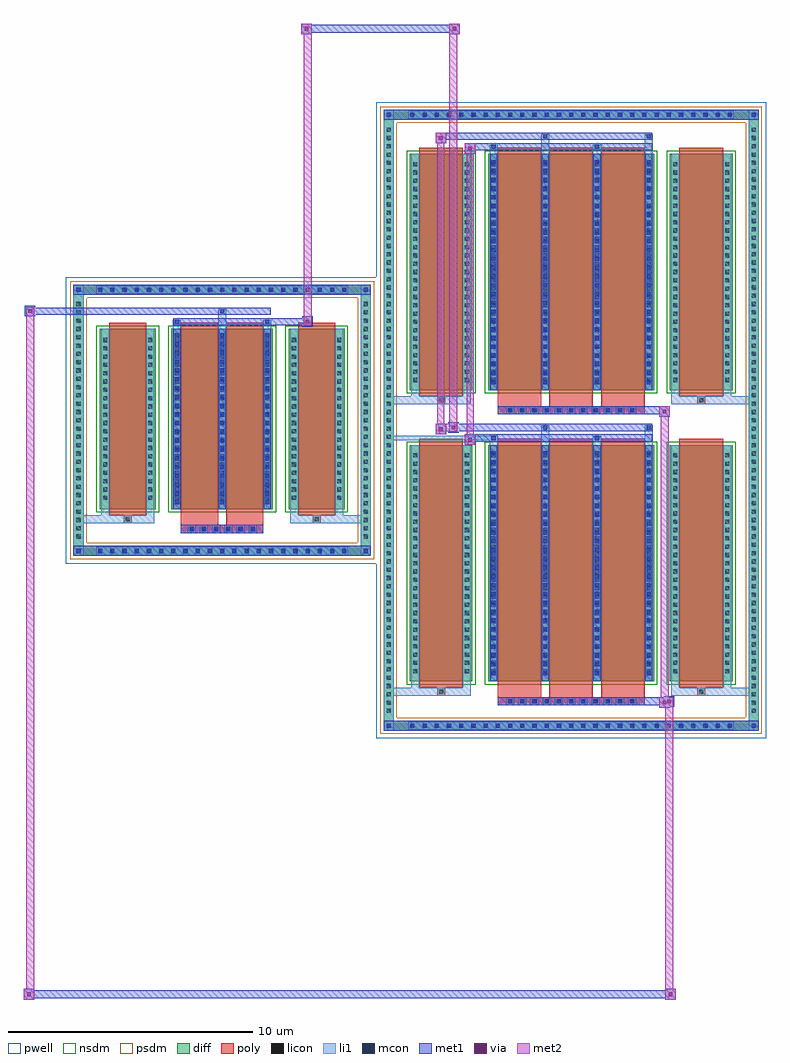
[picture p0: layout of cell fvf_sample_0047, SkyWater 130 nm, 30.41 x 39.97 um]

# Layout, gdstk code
import gdstk
lib = gdstk.Library(unit=1e-6, precision=1e-09)
def R(c, l, rs):  # rectangles x0, y0, x1, y1
    for r in rs: c.add(gdstk.rectangle(r[:2], r[2:], *l))
def A(c, l, x, y, w, h, nx, ny, dx, dy):  # array of equal rectangles
    R(c, l, [(x+i*dx, y+j*dy, x+i*dx+w, y+j*dy+h) for i in range(nx) for j in range(ny)])
def P(c, l, *ps):  # polygons
    for p in ps: c.add(gdstk.Polygon(p, *l))
pwell = (64, 44)
diff = (65, 20)
poly = (66, 20)
licon = (66, 44)
li1 = (67, 20)
mcon = (67, 44)
met1 = (68, 20)
via = (68, 44)
met2 = (69, 20)
nsdm = (93, 44)
psdm = (94, 20)

fvf_sample_0047 = lib.new_cell('fvf_sample_0047')
R(fvf_sample_0047, pwell, [(6.299,-13.025,22.281,13.025), (-6.399,-5.866,6.399,5.866)])
A(fvf_sample_0047, diff, 7.585, -12.715, 0.41, 0.41, 27, 2, 0.5, 25.02)
A(fvf_sample_0047, diff, 6.609, -12.105, 0.41, 0.41, 1, 71, 0, 0.34)
A(fvf_sample_0047, diff, 21.561, -12.105, 0.41, 0.41, 1, 71, 0, 0.34)
A(fvf_sample_0047, diff, -5.205, -5.556, 0.41, 0.41, 21, 2, 0.5, 10.702)
A(fvf_sample_0047, diff, -6.089, -4.965, 0.41, 0.41, 1, 29, 0, 0.34)
A(fvf_sample_0047, diff, 5.679, -4.965, 0.41, 0.41, 1, 29, 0, 0.34)
R(fvf_sample_0047, diff, [(7.585,-12.715,20.995,-12.305), (6.609,-12.105,7.019,12.105), (21.561,-12.105,21.971,12.105), (7.68,-10.694,10.248,-1.014), (10.888,-10.694,17.692,-1.014), (18.332,-10.694,20.9,-1.014), (-5.205,-5.556,5.205,-5.146), (-6.089,-4.965,-5.679,4.965), (5.679,-4.965,6.089,4.965), (-5.019,-3.634,-2.717,3.75), (-2.077,-3.634,2.077,3.75), (2.717,-3.634,5.019,3.75), (7.68,1.23,10.248,10.91), (10.888,1.23,17.692,10.91), (18.332,1.23,20.9,10.91), (-5.205,5.146,5.205,5.556), (7.585,12.305,20.995,12.715)])
P(fvf_sample_0047, diff, [(6.089,5.556),(-6.089,5.556),(-6.089,-5.146),(-5.679,-5.146),(-5.679,5.146),(5.679,5.146),(5.679,-5.146),(-5.679,-5.146),(-6.089,-5.146),(-6.089,-5.556),(6.089,-5.556)],
  [(21.971,12.715),(6.609,12.715),(6.609,-12.305),(7.019,-12.305),(7.019,12.305),(21.561,12.305),(21.561,-12.305),(7.019,-12.305),(6.609,-12.305),(6.609,-12.715),(21.971,-12.715)])
A(fvf_sample_0047, poly, 11.625, -11.674, 0.33, 0.33, 11, 2, 0.5, 11.924)
A(fvf_sample_0047, poly, 11.278, -11.344, 1.788, 0.4, 3, 2, 2.118, 11.924)
A(fvf_sample_0047, poly, 11.278, -10.944, 1.788, 10.18, 3, 2, 2.118, 11.924)
A(fvf_sample_0047, poly, -1.415, -4.616, 0.33, 0.33, 6, 1, 0.5, 0)
R(fvf_sample_0047, poly, [(11.278,-11.674,17.302,-11.344), (8.799,-11.274,9.129,-10.944), (8.799,-11.274,9.129,-10.944), (19.451,-11.274,19.781,-10.944), (19.451,-11.274,19.781,-10.944), (8.07,-10.944,9.858,-0.764), (18.722,-10.944,20.51,-0.764), (-1.687,-4.616,1.687,-4.286), (-1.687,-4.286,-0.165,-3.884), (0.165,-4.286,1.687,-3.884), (-4.033,-4.214,-3.703,-3.884), (-4.033,-4.214,-3.703,-3.884), (3.703,-4.214,4.033,-3.884), (3.703,-4.214,4.033,-3.884), (-4.629,-3.884,-3.107,4), (-1.687,-3.884,-0.165,4), (0.165,-3.884,1.687,4), (3.107,-3.884,4.629,4), (11.278,0.25,17.302,0.58), (8.799,0.65,9.129,0.98), (8.799,0.65,9.129,0.98), (19.451,0.65,19.781,0.98), (19.451,0.65,19.781,0.98), (8.07,0.98,9.858,11.16), (18.722,0.98,20.51,11.16)])
A(fvf_sample_0047, licon, 7.705, -12.595, 0.17, 0.17, 27, 2, 0.5, 25.02)
A(fvf_sample_0047, licon, 6.729, -11.985, 0.17, 0.17, 1, 71, 0, 0.34)
A(fvf_sample_0047, licon, 21.681, -11.985, 0.17, 0.17, 1, 71, 0, 0.34)
A(fvf_sample_0047, licon, 11.705, -11.594, 0.17, 0.17, 11, 2, 0.5, 11.924)
A(fvf_sample_0047, licon, 7.82, -10.359, 0.17, 0.17, 1, 27, 0, 0.34)
A(fvf_sample_0047, licon, 9.938, -10.359, 0.17, 0.17, 1, 27, 0, 0.34)
A(fvf_sample_0047, licon, 11.028, -10.359, 0.17, 0.17, 4, 27, 2.118, 0.34)
A(fvf_sample_0047, licon, 18.472, -10.359, 0.17, 0.17, 1, 27, 0, 0.34)
A(fvf_sample_0047, licon, 20.59, -10.359, 0.17, 0.17, 1, 27, 0, 0.34)
A(fvf_sample_0047, licon, -5.085, -5.436, 0.17, 0.17, 21, 2, 0.5, 10.702)
A(fvf_sample_0047, licon, -5.969, -4.845, 0.17, 0.17, 1, 29, 0, 0.34)
A(fvf_sample_0047, licon, 5.799, -4.845, 0.17, 0.17, 1, 29, 0, 0.34)
A(fvf_sample_0047, licon, -1.335, -4.536, 0.17, 0.17, 6, 1, 0.5, 0)
A(fvf_sample_0047, licon, -4.879, -3.257, 0.17, 0.17, 1, 20, 0, 0.34)
A(fvf_sample_0047, licon, -3.027, -3.257, 0.17, 0.17, 1, 20, 0, 0.34)
A(fvf_sample_0047, licon, -1.937, -3.257, 0.17, 0.17, 3, 20, 1.852, 0.34)
A(fvf_sample_0047, licon, 2.857, -3.257, 0.17, 0.17, 1, 20, 0, 0.34)
A(fvf_sample_0047, licon, 4.709, -3.257, 0.17, 0.17, 1, 20, 0, 0.34)
A(fvf_sample_0047, licon, 7.82, 1.565, 0.17, 0.17, 1, 27, 0, 0.34)
A(fvf_sample_0047, licon, 9.938, 1.565, 0.17, 0.17, 1, 27, 0, 0.34)
A(fvf_sample_0047, licon, 11.028, 1.565, 0.17, 0.17, 4, 27, 2.118, 0.34)
A(fvf_sample_0047, licon, 18.472, 1.565, 0.17, 0.17, 1, 27, 0, 0.34)
A(fvf_sample_0047, licon, 20.59, 1.565, 0.17, 0.17, 1, 27, 0, 0.34)
R(fvf_sample_0047, licon, [(8.879,-11.194,9.049,-11.024), (19.531,-11.194,19.701,-11.024), (-3.953,-4.134,-3.783,-3.964), (3.783,-4.134,3.953,-3.964), (8.879,0.73,9.049,0.9), (19.531,0.73,19.701,0.9)])
A(fvf_sample_0047, li1, 7.625, -12.675, 0.33, 0.33, 27, 2, 0.5, 25.02)
A(fvf_sample_0047, li1, 6.649, -12.065, 0.33, 0.33, 1, 71, 0, 0.34)
A(fvf_sample_0047, li1, 21.601, -12.065, 0.33, 0.33, 1, 71, 0, 0.34)
A(fvf_sample_0047, li1, 11.625, -11.674, 0.33, 0.33, 11, 2, 0.5, 11.924)
A(fvf_sample_0047, li1, 10.948, -10.694, 0.33, 9.68, 4, 2, 2.118, 11.924)
A(fvf_sample_0047, li1, 7.74, -10.439, 0.33, 0.33, 1, 27, 0, 0.34)
A(fvf_sample_0047, li1, 9.858, -10.439, 0.33, 0.33, 1, 27, 0, 0.34)
A(fvf_sample_0047, li1, 10.948, -10.439, 0.33, 0.33, 4, 27, 2.118, 0.34)
A(fvf_sample_0047, li1, 11.028, -10.439, 0.17, 0.17, 4, 26, 2.118, 0.36)
A(fvf_sample_0047, li1, 11.028, -10.439, 0.17, 9.17, 4, 2, 2.118, 11.924)
A(fvf_sample_0047, li1, 18.392, -10.439, 0.33, 0.33, 1, 27, 0, 0.34)
A(fvf_sample_0047, li1, 20.51, -10.439, 0.33, 0.33, 1, 27, 0, 0.34)
A(fvf_sample_0047, li1, -5.165, -5.516, 0.33, 0.33, 21, 2, 0.5, 10.702)
A(fvf_sample_0047, li1, -6.049, -4.925, 0.33, 0.33, 1, 29, 0, 0.34)
A(fvf_sample_0047, li1, 5.719, -4.925, 0.33, 0.33, 1, 29, 0, 0.34)
A(fvf_sample_0047, li1, -1.415, -4.616, 0.33, 0.33, 6, 1, 0.5, 0)
A(fvf_sample_0047, li1, -2.017, -3.634, 0.33, 7.384, 3, 1, 1.852, 0)
A(fvf_sample_0047, li1, -1.937, -3.447, 0.17, 0.17, 3, 20, 1.852, 0.36)
A(fvf_sample_0047, li1, -1.937, -3.447, 0.17, 7.01, 3, 1, 1.852, 0)
A(fvf_sample_0047, li1, -4.959, -3.337, 0.33, 0.33, 1, 20, 0, 0.34)
A(fvf_sample_0047, li1, -3.107, -3.337, 0.33, 0.33, 1, 20, 0, 0.34)
A(fvf_sample_0047, li1, -2.017, -3.337, 0.33, 0.33, 3, 20, 1.852, 0.34)
A(fvf_sample_0047, li1, 2.777, -3.337, 0.33, 0.33, 1, 20, 0, 0.34)
A(fvf_sample_0047, li1, 4.629, -3.337, 0.33, 0.33, 1, 20, 0, 0.34)
A(fvf_sample_0047, li1, 7.74, 1.485, 0.33, 0.33, 1, 27, 0, 0.34)
A(fvf_sample_0047, li1, 9.858, 1.485, 0.33, 0.33, 1, 27, 0, 0.34)
A(fvf_sample_0047, li1, 10.948, 1.485, 0.33, 0.33, 4, 27, 2.118, 0.34)
A(fvf_sample_0047, li1, 11.028, 1.485, 0.17, 0.17, 4, 26, 2.118, 0.36)
A(fvf_sample_0047, li1, 18.392, 1.485, 0.33, 0.33, 1, 27, 0, 0.34)
A(fvf_sample_0047, li1, 20.51, 1.485, 0.33, 0.33, 1, 27, 0, 0.34)
R(fvf_sample_0047, li1, [(6.609,-12.715,7.019,-12.305), (21.561,-12.715,21.971,-12.305), (7.625,-12.675,20.955,-12.345), (6.729,-12.595,6.899,-12.425), (6.729,-12.595,6.899,-12.425), (21.681,-12.595,21.851,-12.425), (21.681,-12.595,21.851,-12.425), (6.609,-12.305,7.019,12.305), (21.561,-12.305,21.971,12.305), (6.609,-11.274,8.799,-10.944), (7.74,-11.274,8.07,-10.694), (7.74,-11.274,8.799,-10.944), (8.799,-11.274,9.129,-10.944), (9.129,-11.274,10.188,-10.944), (9.858,-11.274,10.188,-10.694), (18.392,-11.274,18.722,-10.694), (18.392,-11.274,19.451,-10.944), (19.451,-11.274,19.781,-10.944), (19.451,-11.274,21.971,-10.944), (19.781,-11.274,20.84,-10.944), (20.51,-11.274,20.84,-10.694), (7.74,-10.694,8.07,-1.014), (9.858,-10.694,10.188,-1.014), (18.392,-10.694,18.722,-1.014), (20.51,-10.694,20.84,-1.014), (-6.089,-5.556,-5.679,-5.146), (5.679,-5.556,6.089,-5.146), (-5.165,-5.516,5.165,-5.186), (-5.969,-5.436,-5.799,-5.266), (-5.969,-5.436,-5.799,-5.266), (5.799,-5.436,5.969,-5.266), (5.799,-5.436,5.969,-5.266), (-6.089,-5.146,-5.679,5.146), (5.679,-5.146,6.089,5.146), (-6.089,-4.214,-4.033,-3.884), (-4.959,-4.214,-4.033,-3.884), (-4.959,-4.214,-4.629,-3.634), (-4.033,-4.214,-3.703,-3.884), (-3.703,-4.214,-2.777,-3.884), (-3.107,-4.214,-2.777,-3.634), (2.777,-4.214,3.703,-3.884), (2.777,-4.214,3.107,-3.634), (3.703,-4.214,4.033,-3.884), (3.703,-4.214,6.089,-3.884), (4.033,-4.214,4.959,-3.884), (4.629,-4.214,4.959,-3.634), (-4.959,-3.634,-4.629,3.75), (-3.107,-3.634,-2.777,3.75), (2.777,-3.634,3.107,3.75), (4.629,-3.634,4.959,3.75), (10.948,-1.014,11.278,-0.639), (13.066,-1.014,13.396,-0.209), (15.184,-1.014,15.514,-0.639), (17.302,-1.014,17.632,-0.209), (10.968,-0.869,11.258,-0.579), (6.609,-0.824,10.968,-0.624), (11.028,-0.809,11.198,-0.639), (11.028,-0.809,11.198,-0.639), (15.264,-0.809,15.434,-0.639), (13.146,-0.379,13.316,-0.209), (17.382,-0.379,17.552,-0.209), (6.609,0.65,8.799,0.98), (7.74,0.65,8.07,1.23), (7.74,0.65,8.799,0.98), (8.799,0.65,9.129,0.98), (9.129,0.65,10.188,0.98), (9.858,0.65,10.188,1.23), (18.392,0.65,18.722,1.23), (18.392,0.65,19.451,0.98), (19.451,0.65,19.781,0.98), (19.451,0.65,21.971,0.98), (19.781,0.65,20.84,0.98), (20.51,0.65,20.84,1.23), (7.74,1.23,8.07,10.91), (9.858,1.23,10.188,10.91), (18.392,1.23,18.722,10.91), (20.51,1.23,20.84,10.91), (-2.017,3.75,-1.687,4.125), (-0.165,3.75,0.165,4.555), (1.687,3.75,2.017,4.125), (-1.937,3.955,-1.767,4.125), (1.767,3.955,1.937,4.125), (-0.085,4.385,0.085,4.555), (-6.089,5.146,-5.679,5.556), (5.679,5.146,6.089,5.556), (-5.165,5.186,5.165,5.516), (-5.969,5.266,-5.799,5.436), (-5.969,5.266,-5.799,5.436), (5.799,5.266,5.969,5.436), (5.799,5.266,5.969,5.436), (10.948,10.91,11.278,11.285), (13.066,10.91,13.396,11.715), (15.184,10.91,15.514,11.285), (17.302,10.91,17.632,11.715), (11.028,11.115,11.198,11.285), (15.264,11.115,15.434,11.285), (13.146,11.545,13.316,11.715), (17.382,11.545,17.552,11.715), (6.609,12.305,7.019,12.715), (21.561,12.305,21.971,12.715), (7.625,12.345,20.955,12.675), (6.729,12.425,6.899,12.595), (6.729,12.425,6.899,12.595), (21.681,12.425,21.851,12.595), (21.681,12.425,21.851,12.595)])
A(fvf_sample_0047, mcon, 7.705, -12.595, 0.17, 0.17, 27, 2, 0.5, 25.02)
A(fvf_sample_0047, mcon, 11.705, -11.594, 0.17, 0.17, 11, 2, 0.5, 11.924)
A(fvf_sample_0047, mcon, 11.028, -10.439, 0.17, 0.17, 4, 26, 2.118, 0.36)
A(fvf_sample_0047, mcon, -5.085, -5.436, 0.17, 0.17, 21, 2, 0.5, 10.702)
A(fvf_sample_0047, mcon, -1.335, -4.536, 0.17, 0.17, 6, 1, 0.5, 0)
A(fvf_sample_0047, mcon, -1.937, -3.447, 0.17, 0.17, 3, 20, 1.852, 0.36)
A(fvf_sample_0047, mcon, 11.028, 1.485, 0.17, 0.17, 4, 26, 2.118, 0.36)
R(fvf_sample_0047, mcon, [(6.729,-12.595,6.899,-12.425), (21.681,-12.595,21.851,-12.425), (-5.969,-5.436,-5.799,-5.266), (5.799,-5.436,5.969,-5.266), (11.028,-0.809,11.198,-0.639), (11.028,-0.809,11.198,-0.639), (15.264,-0.809,15.434,-0.639), (13.146,-0.379,13.316,-0.209), (17.382,-0.379,17.552,-0.209), (-1.937,3.955,-1.767,4.125), (1.767,3.955,1.937,4.125), (-0.085,4.385,0.085,4.555), (-5.969,5.266,-5.799,5.436), (5.799,5.266,5.969,5.436), (11.028,11.115,11.198,11.285), (15.264,11.115,15.434,11.285), (13.146,11.545,13.316,11.715), (17.382,11.545,17.552,11.715), (6.729,12.425,6.899,12.595), (21.681,12.425,21.851,12.595)])
A(fvf_sample_0047, met1, 7.645, -12.655, 0.29, 0.29, 27, 2, 0.5, 25.02)
A(fvf_sample_0047, met1, 11.645, -11.654, 0.29, 0.29, 11, 2, 0.5, 11.924)
A(fvf_sample_0047, met1, 10.968, -10.694, 0.29, 9.68, 4, 2, 2.118, 11.924)
A(fvf_sample_0047, met1, 10.968, -10.499, 0.29, 0.29, 4, 26, 2.118, 0.36)
A(fvf_sample_0047, met1, -5.145, -5.496, 0.29, 0.29, 21, 2, 0.5, 10.702)
A(fvf_sample_0047, met1, -1.395, -4.596, 0.29, 0.29, 6, 1, 0.5, 0)
A(fvf_sample_0047, met1, -1.997, -3.634, 0.29, 7.384, 3, 1, 1.852, 0)
A(fvf_sample_0047, met1, -1.997, -3.507, 0.29, 0.29, 3, 20, 1.852, 0.36)
A(fvf_sample_0047, met1, 10.968, 1.425, 0.29, 0.29, 4, 26, 2.118, 0.36)
R(fvf_sample_0047, met1, [(-8.128,-23.718,-7.698,-23.288), (18.137,-23.718,18.567,-23.288), (-8.128,-23.668,18.567,-23.338), (-8.128,-23.338,-7.698,-23.288), (18.137,-23.338,18.567,-23.288), (6.609,-12.715,7.019,-12.305), (6.609,-12.715,7.019,-12.305), (7.019,-12.715,21.561,-12.305), (21.561,-12.715,21.971,-12.305), (21.561,-12.715,21.971,-12.305), (6.669,-12.655,6.959,-12.365), (21.621,-12.655,21.911,-12.365), (17.902,-11.774,18.332,-11.344), (18.087,-11.724,18.517,-11.294), (11.278,-11.674,17.302,-11.344), (17.302,-11.674,18.087,-11.344), (17.302,-11.674,18.332,-11.344), (-6.089,-5.556,-5.679,-5.146), (-6.089,-5.556,-5.679,-5.146), (-5.679,-5.556,5.679,-5.146), (5.679,-5.556,6.089,-5.146), (5.679,-5.556,6.089,-5.146), (-6.029,-5.496,-5.739,-5.206), (5.739,-5.496,6.029,-5.206), (-1.687,-4.616,1.687,-4.286), (9.938,-1.009,10.368,-0.579), (9.938,-0.869,10.968,-0.579), (10.968,-0.869,11.258,-0.579), (10.968,-0.869,11.258,-0.579), (10.968,-0.869,17.612,-0.579), (15.204,-0.869,15.494,-0.579), (8.738,-0.579,9.168,-0.149), (9.253,-0.509,9.683,-0.079), (8.738,-0.439,10.968,-0.149), (9.683,-0.439,10.968,-0.149), (10.968,-0.439,17.612,-0.149), (13.086,-0.439,13.376,-0.149), (17.322,-0.439,17.612,-0.149), (17.902,0.15,18.332,0.58), (11.278,0.25,17.302,0.58), (17.302,0.25,18.332,0.58), (3.282,3.825,3.712,4.255), (-1.997,3.895,-1.707,4.185), (-1.997,3.895,1.997,4.185), (1.707,3.895,1.997,4.185), (1.997,3.895,3.282,4.185), (-8.078,4.255,-7.648,4.685), (-7.648,4.325,-1.997,4.615), (-1.997,4.325,1.997,4.615), (-0.145,4.325,0.145,4.615), (-6.089,5.146,-5.679,5.556), (-6.089,5.146,-5.679,5.556), (-5.679,5.146,5.679,5.556), (5.679,5.146,6.089,5.556), (5.679,5.146,6.089,5.556), (-6.029,5.206,-5.739,5.496), (5.739,5.206,6.029,5.496), (9.938,10.915,10.368,11.345), (9.938,11.055,10.968,11.345), (10.968,11.055,11.258,11.345), (10.968,11.055,17.612,11.345), (15.204,11.055,15.494,11.345), (8.738,11.345,9.168,11.775), (8.738,11.485,10.968,11.775), (10.968,11.485,17.612,11.775), (13.086,11.485,13.376,11.775), (17.322,11.485,17.612,11.775), (6.609,12.305,7.019,12.715), (6.609,12.305,7.019,12.715), (7.019,12.305,21.561,12.715), (21.561,12.305,21.971,12.715), (21.561,12.305,21.971,12.715), (6.669,12.365,6.959,12.655), (21.621,12.365,21.911,12.655), (3.232,15.819,3.662,16.249), (9.303,15.819,9.733,16.249), (3.232,15.869,9.733,16.199), (3.232,16.199,3.662,16.249), (9.303,16.199,9.733,16.249)])
R(fvf_sample_0047, via, [(-7.988,-23.578,-7.838,-23.428), (18.277,-23.578,18.427,-23.428), (18.042,-11.634,18.192,-11.484), (18.227,-11.584,18.377,-11.434), (10.078,-0.869,10.228,-0.719), (8.878,-0.439,9.028,-0.289), (9.393,-0.369,9.543,-0.219), (18.042,0.29,18.192,0.44), (3.422,3.965,3.572,4.115), (-7.938,4.395,-7.788,4.545), (10.078,11.055,10.228,11.205), (8.878,11.485,9.028,11.635), (3.372,15.959,3.522,16.109), (9.443,15.959,9.593,16.109)])
R(fvf_sample_0047, met2, [(-8.128,-23.718,-7.698,-23.288), (-8.028,-23.718,-7.698,4.305), (18.137,-23.718,18.567,-23.288), (18.137,-23.718,18.467,-11.674), (-8.078,-23.668,-7.748,-23.338), (18.187,-23.668,18.517,-23.338), (17.902,-11.774,18.332,-11.344), (17.952,-11.774,18.282,0.58), (18.282,-11.774,18.332,-11.344), (17.952,-11.724,18.282,-11.394), (18.137,-11.674,18.467,-11.344), (9.938,-1.009,10.368,-0.579), (10.008,-1.009,10.298,11.345), (10.298,-1.009,10.368,-0.579), (9.988,-0.959,10.318,-0.629), (8.738,-0.579,9.168,-0.149), (8.808,-0.579,9.098,11.775), (9.098,-0.579,9.168,-0.149), (8.788,-0.529,9.118,-0.199), (9.303,-0.459,9.633,-0.129), (9.303,-0.129,9.633,16.249), (17.902,0.15,18.332,0.58), (18.282,0.15,18.332,0.58), (17.952,0.2,18.282,0.53), (3.332,3.875,3.662,4.205), (3.332,4.205,3.662,16.249), (-8.028,4.305,-7.698,4.635), (9.938,10.915,10.368,11.345), (10.298,10.915,10.368,11.345), (9.988,10.965,10.318,11.295), (8.738,11.345,9.168,11.775), (9.098,11.345,9.168,11.775), (8.788,11.395,9.118,11.725), (3.232,15.819,3.662,16.249), (9.303,15.819,9.733,16.249), (3.282,15.869,3.612,16.199), (9.353,15.869,9.683,16.199)])
R(fvf_sample_0047, nsdm, [(7.55,-10.824,10.378,-0.884), (10.758,-10.824,17.822,-0.884), (18.202,-10.824,21.03,-0.884), (-5.149,-3.764,-2.587,3.88), (-2.207,-3.764,2.207,3.88), (2.587,-3.764,5.149,3.88), (7.55,1.1,10.378,11.04), (10.758,1.1,17.822,11.04), (18.202,1.1,21.03,11.04)])
P(fvf_sample_0047, psdm, [(6.219,5.686),(-6.219,5.686),(-6.219,-5.016),(-5.549,-5.016),(-5.549,5.016),(5.549,5.016),(5.549,-5.016),(-5.549,-5.016),(-6.219,-5.016),(-6.219,-5.686),(6.219,-5.686)],
  [(22.101,12.845),(6.479,12.845),(6.479,-12.175),(7.149,-12.175),(7.149,12.175),(21.431,12.175),(21.431,-12.175),(7.149,-12.175),(6.479,-12.175),(6.479,-12.845),(22.101,-12.845)])

lib.write_gds('fvf_sample_0047.gds')
